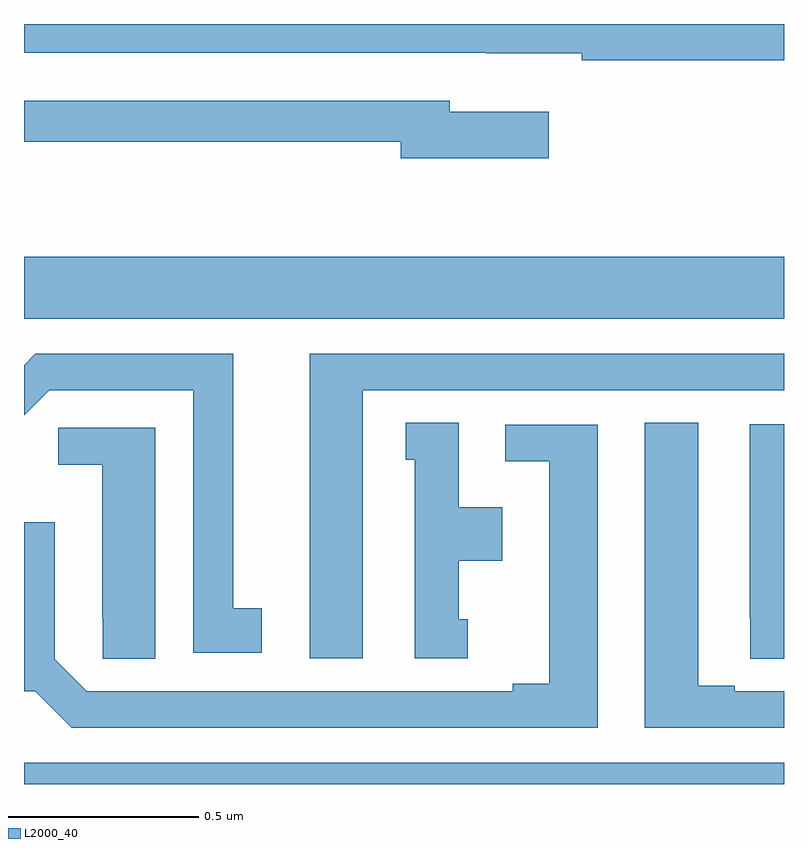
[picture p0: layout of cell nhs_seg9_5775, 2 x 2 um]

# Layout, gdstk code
import gdstk
lib = gdstk.Library(unit=1e-6, precision=1e-09)
def R(c, l, rs):  # rectangles x0, y0, x1, y1
    for r in rs: c.add(gdstk.rectangle(r[:2], r[2:], *l))
def P(c, l, *ps):  # polygons
    for p in ps: c.add(gdstk.Polygon(p, *l))
L2000_40 = (2000, 40)

nhs_seg9_5775 = lib.new_cell('nhs_seg9_5775')
R(nhs_seg9_5775, L2000_40, [(183,1224.5,185,1224.556), (183,1225.724,185,1225.888)])
P(nhs_seg9_5775, L2000_40, [(185,1226.5),(183,1226.5),(183,1226.424),(184.216,1226.424),(184.216,1226.423),(184.468,1226.423),(184.468,1226.404),(185,1226.404)],
  [(184.381,1226.269),(184.12,1226.269),(184.12,1226.298),(183,1226.298),(183,1226.19),(183.992,1226.19),(183.992,1226.147),(184.381,1226.147)],
  [(183.625,1224.962),(183.55,1224.962),(183.55,1225.632),(183.03,1225.632),(183,1225.602),(183,1225.47),(183.066,1225.536),(183.446,1225.536),(183.446,1224.846),(183.625,1224.846)],
  [(183.892,1225.536),(185,1225.536),(185,1225.632),(183.752,1225.632),(183.752,1224.831),(183.892,1224.831)],
  [(185,1224.744),(184.87,1224.744),(184.87,1224.759),(184.774,1224.759),(184.774,1225.451),(184.634,1225.451),(184.634,1224.648),(185,1224.648)],
  [(184.168,1224.933),(184.144,1224.933),(184.144,1225.088),(184.258,1225.088),(184.258,1225.228),(184.144,1225.228),(184.144,1225.451),(184.004,1225.451),(184.004,1225.353),(184.028,1225.353),(184.028,1224.831),(184.168,1224.831)],
  [(185,1225.447),(184.91,1225.447),(184.91,1224.937),(184.911,1224.937),(184.911,1224.829),(185,1224.829)],
  [(184.51,1225.446),(184.266,1225.446),(184.266,1225.35),(184.382,1225.35),(184.382,1224.764),(184.286,1224.764),(184.286,1224.744),(183.165,1224.744),(183.081,1224.828),(183.081,1225.189),(183,1225.189),(183,1224.744),(183.029,1224.744),(183.125,1224.648),(184.51,1224.648)],
  [(183.346,1225.437),(183.09,1225.437),(183.09,1225.34),(183.206,1225.34),(183.206,1224.937),(183.207,1224.937),(183.207,1224.829),(183.346,1224.829)])

lib.write_gds('nhs_seg9_5775.gds')
